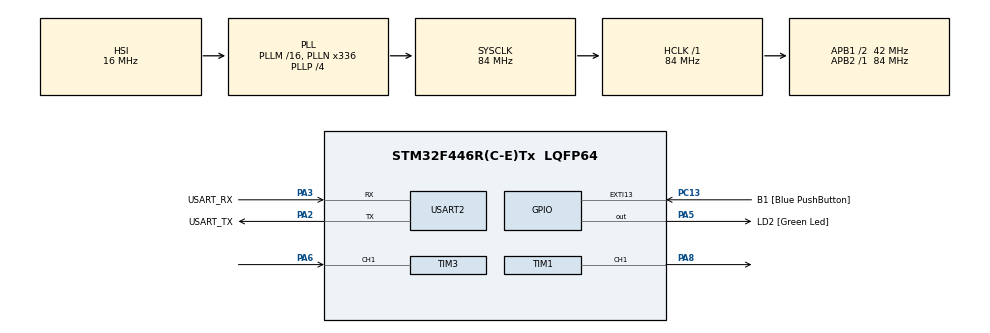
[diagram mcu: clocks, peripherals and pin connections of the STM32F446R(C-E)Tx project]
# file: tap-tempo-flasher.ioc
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Mcu.Family=STM32F4
Mcu.Name=STM32F446R(C-E)Tx
Mcu.Package=LQFP64
NVIC.PriorityGroup=NVIC_PRIORITYGROUP_0
NVIC.TIM3_IRQn=true\:0\:0\:false\:false\:true\:true\:true\:true
PA13.GPIO_Label=TMS
PA13.Mode=Serial_Wire
PA13.Signal=SYS_JTMS-SWDIO
PA14.GPIO_Label=TCK
PA14.Mode=Serial_Wire
PA14.Signal=SYS_JTCK-SWCLK
PA2.GPIO_Label=USART_TX
PA2.Mode=Asynchronous
PA2.Signal=USART2_TX
PA3.GPIO_Label=USART_RX
PA3.Mode=Asynchronous
PA3.Signal=USART2_RX
PA5.GPIO_Label=LD2 [Green Led]
PA5.Signal=GPIO_Output
PA6.GPIO_PuPd=GPIO_PULLUP
PA6.Signal=S_TIM3_CH1
PA8.Signal=S_TIM1_CH1
PB3.GPIO_Label=SWO
PB3.Signal=SYS_JTDO-SWO
PC13.GPIO_Label=B1 [Blue PushButton]
PC13.GPIO_ModeDefaultEXTI=GPIO_MODE_IT_FALLING
PC13.Signal=GPXTI13
PC14-OSC32_IN.Mode=LSE-External-Oscillator
PC14-OSC32_IN.Signal=RCC_OSC32_IN
PC15-OSC32_OUT.Mode=LSE-External-Oscillator
PC15-OSC32_OUT.Signal=RCC_OSC32_OUT
PH0-OSC_IN.Mode=HSE-External-Oscillator
PH0-OSC_IN.Signal=RCC_OSC_IN
PH1-OSC_OUT.Mode=HSE-External-Oscillator
PH1-OSC_OUT.Signal=RCC_OSC_OUT
ProjectManager.HeapSize=0x200
ProjectManager.StackSize=0x400
ProjectManager.TargetToolchain=STM32CubeIDE
RCC.48MHZClocksFreq_Value=84000000
RCC.AHBFreq_Value=84000000
RCC.APB1CLKDivider=RCC_HCLK_DIV2
RCC.APB1Freq_Value=42000000
RCC.APB1TimFreq_Value=84000000
RCC.APB2Freq_Value=84000000
RCC.APB2TimFreq_Value=84000000
RCC.CortexFreq_Value=84000000
RCC.FLatency-AdvancedSettings=FLASH_LATENCY_2
RCC.HCLKFreq_Value=84000000
RCC.HSE_VALUE=8000000
RCC.HSI_VALUE=16000000
RCC.PLLN=336
RCC.PLLP=RCC_PLLP_DIV4
RCC.SYSCLKFreq_VALUE=84000000
RCC.SYSCLKSource=RCC_SYSCLKSOURCE_PLLCLK
RCC.USBFreq_Value=168000000
RCC.VCOOutputFreq_Value=336000000
SH.S_TIM1_CH1.0=TIM1_CH1,Output Compare1 CH1
SH.S_TIM3_CH1.0=TIM3_CH1,Input_Capture1_from_TI1
SH.S_TIM3_CH1.1=TIM3_CH1,TriggerSource_TI1FP1
TIM1.Channel-Output\ Compare1\ CH1=TIM_CHANNEL_1
TIM1.OCMode_1=TIM_OCMODE_TOGGLE
TIM1.Prescaler=8399
TIM3.Channel-Input_Capture1_from_TI1=TIM_CHANNEL_1
TIM3.ICPolarity_CH1=TIM_INPUTCHANNELPOLARITY_FALLING
TIM3.Prescaler=8399
USART2.VirtualMode=VM_ASYNC
VP_TIM1_VS_ClockSourceINT.Mode=Internal
VP_TIM3_VS_ClockSourceINT.Mode=Internal
VP_TIM3_VS_ControllerModeReset.Mode=Reset Mode
board=NUCLEO-F446RE

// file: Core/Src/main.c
/* USER CODE BEGIN Header */
/**
  ******************************************************************************
  * @file           : main.c
  * @brief          : Main program body
  ******************************************************************************
  * @attention
  *
  * Copyright (c) 2026 STMicroelectronics.
  * All rights reserved.
  *
  * This software is licensed under terms that can be found in the LICENSE file
  * in the root directory of this software component.
  * If no LICENSE file comes with this software, it is provided AS-IS.
  *
  ******************************************************************************
  */
/* USER CODE END Header */
#include "main.h"

/* USER CODE BEGIN Includes */
#include <stdbool.h>
/* USER CODE END Includes */

/* USER CODE BEGIN PD */
volatile bool button_pressed = false;

void HAL_TIM_IC_CaptureCallback(TIM_HandleTypeDef *htim) {
	if (htim->Instance == TIM3) {
		static uint32_t last_ms = 0;

		if ((HAL_GetTick() - last_ms) < 50) return;
		last_ms = HAL_GetTick();
		button_pressed = true;

	}
}

/* USER CODE END PD */

TIM_HandleTypeDef htim1;
TIM_HandleTypeDef htim3;

UART_HandleTypeDef huart2;

void SystemClock_Config(void);
static void MX_GPIO_Init(void);
static void MX_TIM1_Init(void);
static void MX_TIM3_Init(void);
static void MX_USART2_UART_Init(void);

/* USER CODE BEGIN 0 */
typedef enum {
	IDLE = 0,
	AWAIT_SECOND,
} state_t;

/* USER CODE END 0 */

int main(void)
{

  /* MCU Configuration--------------------------------------------------------*/

  /* Reset of all peripherals, Initializes the Flash interface and the Systick. */
  HAL_Init();

  /* Configure the system clock */
  SystemClock_Config();

  /* Initialize all configured peripherals */
  MX_GPIO_Init();
  MX_TIM1_Init();
  MX_TIM3_Init();
  MX_USART2_UART_Init();
  /* USER CODE BEGIN 2 */
  HAL_TIM_IC_Start_IT(&htim3, TIM_CHANNEL_1);

  // Start TIM1 PWM (LED output on TIM1 CH1)
  HAL_TIM_OC_Start(&htim1, TIM_CHANNEL_1);
  /* USER CODE END 2 */

  /* Infinite loop */
  /* USER CODE BEGIN WHILE */
  static state_t state = IDLE;
  while (1)
  {
	  if (button_pressed && state == IDLE) {
		  state = AWAIT_SECOND;
		  button_pressed = false;
	  }
	  else if (button_pressed && state == AWAIT_SECOND) {
		  uint32_t delta = HAL_TIM_ReadCapturedValue(&htim3, TIM_CHANNEL_1);
		  __HAL_TIM_SET_AUTORELOAD(&htim1, delta);
		  __HAL_TIM_SET_COMPARE(&htim1, TIM_CHANNEL_1, delta / 2);
		  htim1.Instance->EGR = TIM_EGR_UG;
		  state = IDLE;
		  button_pressed = false;
	  }
    /* USER CODE END WHILE */

  }
}

void SystemClock_Config(void)
{
  RCC_OscInitTypeDef RCC_OscInitStruct = {0};
  RCC_ClkInitTypeDef RCC_ClkInitStruct = {0};

  /** Configure the main internal regulator output voltage
  */
  __HAL_RCC_PWR_CLK_ENABLE();
  __HAL_PWR_VOLTAGESCALING_CONFIG(PWR_REGULATOR_VOLTAGE_SCALE3);

  /** Initializes the RCC Oscillators according to the specified parameters
  * in the RCC_OscInitTypeDef structure.
  */
  RCC_OscInitStruct.OscillatorType = RCC_OSCILLATORTYPE_HSI;
  RCC_OscInitStruct.HSIState = RCC_HSI_ON;
  RCC_OscInitStruct.HSICalibrationValue = RCC_HSICALIBRATION_DEFAULT;
  RCC_OscInitStruct.PLL.PLLState = RCC_PLL_ON;
  RCC_OscInitStruct.PLL.PLLSource = RCC_PLLSOURCE_HSI;
  RCC_OscInitStruct.PLL.PLLM = 16;
  RCC_OscInitStruct.PLL.PLLN = 336;
  RCC_OscInitStruct.PLL.PLLP = RCC_PLLP_DIV4;
  RCC_OscInitStruct.PLL.PLLQ = 2;
  RCC_OscInitStruct.PLL.PLLR = 2;
  if (HAL_RCC_OscConfig(&RCC_OscInitStruct) != HAL_OK)
  {
    Error_Handler();
  }

  /** Initializes the CPU, AHB and APB buses clocks
  */
  RCC_ClkInitStruct.ClockType = RCC_CLOCKTYPE_HCLK|RCC_CLOCKTYPE_SYSCLK
                              |RCC_CLOCKTYPE_PCLK1|RCC_CLOCKTYPE_PCLK2;
  RCC_ClkInitStruct.SYSCLKSource = RCC_SYSCLKSOURCE_PLLCLK;
  RCC_ClkInitStruct.AHBCLKDivider = RCC_SYSCLK_DIV1;
  RCC_ClkInitStruct.APB1CLKDivider = RCC_HCLK_DIV2;
  RCC_ClkInitStruct.APB2CLKDivider = RCC_HCLK_DIV1;

  if (HAL_RCC_ClockConfig(&RCC_ClkInitStruct, FLASH_LATENCY_2) != HAL_OK)
  {
    Error_Handler();
  }
}

static void MX_TIM1_Init(void)
{

  TIM_ClockConfigTypeDef sClockSourceConfig = {0};
  TIM_MasterConfigTypeDef sMasterConfig = {0};
  TIM_OC_InitTypeDef sConfigOC = {0};
  TIM_BreakDeadTimeConfigTypeDef sBreakDeadTimeConfig = {0};

  htim1.Instance = TIM1;
  htim1.Init.Prescaler = 8399;
  htim1.Init.CounterMode = TIM_COUNTERMODE_UP;
  htim1.Init.Period = 65535;
  htim1.Init.ClockDivision = TIM_CLOCKDIVISION_DIV1;
  htim1.Init.RepetitionCounter = 0;
  htim1.Init.AutoReloadPreload = TIM_AUTORELOAD_PRELOAD_DISABLE;
  if (HAL_TIM_Base_Init(&htim1) != HAL_OK)
  {
    Error_Handler();
  }
  sClockSourceConfig.ClockSource = TIM_CLOCKSOURCE_INTERNAL;
  if (HAL_TIM_ConfigClockSource(&htim1, &sClockSourceConfig) != HAL_OK)
  {
    Error_Handler();
  }
  if (HAL_TIM_OC_Init(&htim1) != HAL_OK)
  {
    Error_Handler();
  }
  sMasterConfig.MasterOutputTrigger = TIM_TRGO_RESET;
  sMasterConfig.MasterSlaveMode = TIM_MASTERSLAVEMODE_DISABLE;
  if (HAL_TIMEx_MasterConfigSynchronization(&htim1, &sMasterConfig) != HAL_OK)
  {
    Error_Handler();
  }
  sConfigOC.OCMode = TIM_OCMODE_TOGGLE;
  sConfigOC.Pulse = 0;
  sConfigOC.OCPolarity = TIM_OCPOLARITY_HIGH;
  sConfigOC.OCNPolarity = TIM_OCNPOLARITY_HIGH;
  sConfigOC.OCFastMode = TIM_OCFAST_DISABLE;
  sConfigOC.OCIdleState = TIM_OCIDLESTATE_RESET;
  sConfigOC.OCNIdleState = TIM_OCNIDLESTATE_RESET;
  if (HAL_TIM_OC_ConfigChannel(&htim1, &sConfigOC, TIM_CHANNEL_1) != HAL_OK)
  {
    Error_Handler();
  }
  sBreakDeadTimeConfig.OffStateRunMode = TIM_OSSR_DISABLE;
  sBreakDeadTimeConfig.OffStateIDLEMode = TIM_OSSI_DISABLE;
  sBreakDeadTimeConfig.LockLevel = TIM_LOCKLEVEL_OFF;
  sBreakDeadTimeConfig.DeadTime = 0;
  sBreakDeadTimeConfig.BreakState = TIM_BREAK_DISABLE;
  sBreakDeadTimeConfig.BreakPolarity = TIM_BREAKPOLARITY_HIGH;
  sBreakDeadTimeConfig.AutomaticOutput = TIM_AUTOMATICOUTPUT_DISABLE;
  if (HAL_TIMEx_ConfigBreakDeadTime(&htim1, &sBreakDeadTimeConfig) != HAL_OK)
  {
    Error_Handler();
  }
  HAL_TIM_MspPostInit(&htim1);

}

static void MX_TIM3_Init(void)
{

  TIM_ClockConfigTypeDef sClockSourceConfig = {0};
  TIM_SlaveConfigTypeDef sSlaveConfig = {0};
  TIM_MasterConfigTypeDef sMasterConfig = {0};
  TIM_IC_InitTypeDef sConfigIC = {0};

  htim3.Instance = TIM3;
  htim3.Init.Prescaler = 8399;
  htim3.Init.CounterMode = TIM_COUNTERMODE_UP;
  htim3.Init.Period = 65535;
  htim3.Init.ClockDivision = TIM_CLOCKDIVISION_DIV1;
  htim3.Init.AutoReloadPreload = TIM_AUTORELOAD_PRELOAD_DISABLE;
  if (HAL_TIM_Base_Init(&htim3) != HAL_OK)
  {
    Error_Handler();
  }
  sClockSourceConfig.ClockSource = TIM_CLOCKSOURCE_INTERNAL;
  if (HAL_TIM_ConfigClockSource(&htim3, &sClockSourceConfig) != HAL_OK)
  {
    Error_Handler();
  }
  if (HAL_TIM_IC_Init(&htim3) != HAL_OK)
  {
    Error_Handler();
  }
  sSlaveConfig.SlaveMode = TIM_SLAVEMODE_RESET;
  sSlaveConfig.InputTrigger = TIM_TS_TI1FP1;
  sSlaveConfig.TriggerPolarity = TIM_INPUTCHANNELPOLARITY_FALLING;
  sSlaveConfig.TriggerFilter = 0;
  if (HAL_TIM_SlaveConfigSynchro(&htim3, &sSlaveConfig) != HAL_OK)
  {
    Error_Handler();
  }
  sMasterConfig.MasterOutputTrigger = TIM_TRGO_RESET;
  sMasterConfig.MasterSlaveMode = TIM_MASTERSLAVEMODE_DISABLE;
  if (HAL_TIMEx_MasterConfigSynchronization(&htim3, &sMasterConfig) != HAL_OK)
  {
    Error_Handler();
  }
  sConfigIC.ICPolarity = TIM_INPUTCHANNELPOLARITY_FALLING;
  sConfigIC.ICSelection = TIM_ICSELECTION_DIRECTTI;
  sConfigIC.ICPrescaler = TIM_ICPSC_DIV1;
  sConfigIC.ICFilter = 0;
  if (HAL_TIM_IC_ConfigChannel(&htim3, &sConfigIC, TIM_CHANNEL_1) != HAL_OK)
  {
    Error_Handler();
  }

}

static void MX_USART2_UART_Init(void)
{

  huart2.Instance = USART2;
  huart2.Init.BaudRate = 115200;
  huart2.Init.WordLength = UART_WORDLENGTH_8B;
  huart2.Init.StopBits = UART_STOPBITS_1;
  huart2.Init.Parity = UART_PARITY_NONE;
  huart2.Init.Mode = UART_MODE_TX_RX;
  huart2.Init.HwFlowCtl = UART_HWCONTROL_NONE;
  huart2.Init.OverSampling = UART_OVERSAMPLING_16;
  if (HAL_UART_Init(&huart2) != HAL_OK)
  {
    Error_Handler();
  }

}

static void MX_GPIO_Init(void)
{
  GPIO_InitTypeDef GPIO_InitStruct = {0};

  /* GPIO Ports Clock Enable */
  __HAL_RCC_GPIOC_CLK_ENABLE();
  __HAL_RCC_GPIOH_CLK_ENABLE();
  __HAL_RCC_GPIOA_CLK_ENABLE();
  __HAL_RCC_GPIOB_CLK_ENABLE();

  /*Configure GPIO pin Output Level */
  HAL_GPIO_WritePin(LD2_GPIO_Port, LD2_Pin, GPIO_PIN_RESET);

  /*Configure GPIO pin : B1_Pin */
  GPIO_InitStruct.Pin = B1_Pin;
  GPIO_InitStruct.Mode = GPIO_MODE_IT_FALLING;
  GPIO_InitStruct.Pull = GPIO_NOPULL;
  HAL_GPIO_Init(B1_GPIO_Port, &GPIO_InitStruct);

  /*Configure GPIO pin : LD2_Pin */
  GPIO_InitStruct.Pin = LD2_Pin;
  GPIO_InitStruct.Mode = GPIO_MODE_OUTPUT_PP;
  GPIO_InitStruct.Pull = GPIO_NOPULL;
  GPIO_InitStruct.Speed = GPIO_SPEED_FREQ_LOW;
  HAL_GPIO_Init(LD2_GPIO_Port, &GPIO_InitStruct);

}

void Error_Handler(void)
{
  __disable_irq();
  while (1)
  {
  }
}
